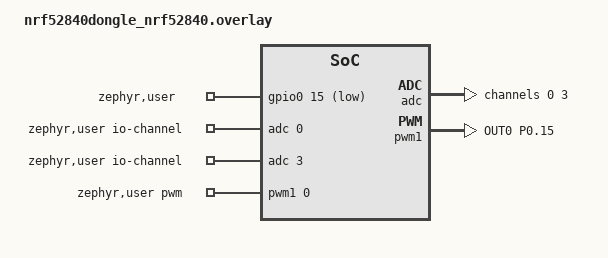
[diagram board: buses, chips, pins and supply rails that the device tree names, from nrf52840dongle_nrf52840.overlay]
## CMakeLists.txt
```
cmake_minimum_required(VERSION 3.20.0)
find_package(Zephyr REQUIRED HINTS $ENV{ZEPHYR_BASE})

project(ESWContestThreadModule)

target_sources(app PRIVATE
                    src/main.c
                )

target_sources_ifdef(CONFIG_BT app PRIVATE src/bluetooth_ad.c)
target_sources_ifdef(CONFIG_BT app PRIVATE src/ble_commission.c)
target_sources_ifdef(CONFIG_BT app PRIVATE src/ble_common.c)
target_sources_ifdef(CONFIG_OPENTHREAD_COAP app PRIVATE src/coap.c)
target_sources_ifdef(CONFIG_GPIO app PRIVATE src/action_button.c)
target_sources_ifdef(CONFIG_GPIO app PRIVATE src/button_service.c)
target_sources_ifdef(CONFIG_GPIO app PRIVATE src/reset_network.c)
target_sources_ifdef(CONFIG_ROLL4_SENSOR app PRIVATE src/cds.c)
target_sources_ifdef(CONFIG_ROLL4_SENSOR app PRIVATE src/temperature_humidity.c)
target_sources_ifdef(CONFIG_ROLL4_SENSOR app PRIVATE src/soil_humidity.c)
target_sources_ifdef(CONFIG_ROLL4_PUMP app PRIVATE src/pump.c)

include_directories(include)
```

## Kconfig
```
source "Kconfig.zephyr"

choice ROLL4_DEVICE_TYPE
	bool "Device Type"
	default ROLL4_SENSOR

config ROLL4_SENSOR
	bool "Enable Sensor Mode"
    
config ROLL4_PUMP
	bool "Enable pump Mode"
endchoice
```

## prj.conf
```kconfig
CONFIG_NETWORKING=y
CONFIG_NET_L2_OPENTHREAD=y
CONFIG_MPSL=y

CONFIG_OPENTHREAD_FTD=y

CONFIG_OPENTHREAD_COAP=y

CONFIG_BT=y
CONFIG_BT_PERIPHERAL=y
CONFIG_BT_BUF_ACL_TX_COUNT=16
CONFIG_BT_LOG_LEVEL_ERR=y

CONFIG_LOG=y


CONFIG_SYSTEM_WORKQUEUE_STACK_SIZE=4096

CONFIG_HEAP_MEM_POOL_SIZE=2048

CONFIG_HW_ID_LIBRARY=y

CONFIG_ROLL4_SENSOR=y
CONFIG_ROLL4_PUMP=n

CONFIG_ADC=y

CONFIG_SENSOR=y
CONFIG_DHT=y

CONFIG_PWM=y
```

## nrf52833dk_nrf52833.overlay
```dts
// To get started, press Ctrl+Space to bring up the completion menu and view the available nodes.

// You can also use the buttons in the sidebar to perform actions on nodes.
// Actions currently available include:

// * Enabling / disabling the node
// * Adding the bus to a bus
// * Removing the node
// * Connecting ADC channels

// For more help, browse the DeviceTree documentation at https://docs.zephyrproject.org/latest/guides/dts/index.html
// You can also visit the nRF DeviceTree extension documentation at https://nrfconnect.github.io/vscode-nrf-connect/devicetree/nrfdevicetree.html

/ {
    aliases {
        bluetooth-button = &button0;
        device-button = &button1;
    };
};
```

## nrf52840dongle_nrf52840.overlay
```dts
// To get started, press Ctrl+Space to bring up the completion menu and view the available nodes.

// You can also use the buttons in the sidebar to perform actions on nodes.
// Actions currently available include:

// * Enabling / disabling the node
// * Adding the bus to a bus
// * Removing the node
// * Connecting ADC channels

// For more help, browse the DeviceTree documentation at https://docs.zephyrproject.org/latest/guides/dts/index.html
// You can also visit the nRF DeviceTree extension documentation at https://docs.nordicsemi.com/bundle/nrf-connect-vscode/page/guides/ncs_configure_app.html#devicetree-support-in-the-extension
/ {
	zephyr,user {
		io-channels = <&adc 0>, <&adc 3>;
		gpios = <&gpio0 15 GPIO_ACTIVE_LOW>;
		pwms = <&pwm1 0 PWM_MSEC(10) PWM_POLARITY_NORMAL>;
	};
};

&gpio0 {
	dht11:dht11 {
		compatible = "aosong,dht";
		dio-gpios = < &gpio0 13 (GPIO_PULL_UP | GPIO_ACTIVE_LOW) >;
	};
};


&adc {
	#address-cells = <1>;
	#size-cells = <0>;
	status = "okay";
	channel@0 {
		reg = <0>;
		zephyr,gain = "ADC_GAIN_1_6";
		zephyr,reference = "ADC_REF_INTERNAL";
		zephyr,acquisition-time = <ADC_ACQ_TIME_DEFAULT>;
		zephyr,input-positive = <NRF_SAADC_AIN5>;
		zephyr,resolution = <12>;
	};
    channel@3 {
		reg = <3>;
		zephyr,gain = "ADC_GAIN_1_6";
		zephyr,reference = "ADC_REF_INTERNAL";
		zephyr,acquisition-time = <ADC_ACQ_TIME_DEFAULT>;
		zephyr,input-positive = <NRF_SAADC_AIN7>;
		zephyr,resolution = <12>;
	};
};

&pwm1 {
	status = "okay";
	pinctrl-0 = <&pwm1_default_custom>;
	pinctrl-1 = <&pwm1_sleep_custom>;
	pinctrl-names = "default", "sleep";
};

&pinctrl {
	pwm1_default_custom: pwm1_default_custom {
		group1 {
			psels = <NRF_PSEL(PWM_OUT0,0, 15)>;
			nordic,invert;
		};
	};

	pwm1_sleep_custom: pwm1_sleep_custom {
		group1 {
			psels = <NRF_PSEL(PWM_OUT0,0, 15)>;
			low-power-enable;
		};
	};
};
```

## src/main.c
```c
#include <zephyr/kernel.h>
#include <zephyr/net/openthread.h>
#include <zephyr/bluetooth/bluetooth.h>
#include <zephyr/logging/log.h>
#include <zephyr/drivers/gpio.h>

#include <openthread/thread.h>
#include <openthread/ip6.h>

LOG_MODULE_REGISTER(main, LOG_LEVEL_INF);

#include "bluetooth_ad.h"
#include "ble_commissioning.h"
#include "coap.h"
#include "util.h"
#include "action_button.h"
#include "button_service.h"
#include "reset_network.h"
#include "cds.h"
#include "soil_humidity.h"
#include "temperature_humidity.h"
#include "pump.h"

int main(void)
{
        init_ble_commission();
        init_button_service();
        init_reset_network();

        if(otDatasetIsCommissioned(openthread_get_default_instance())) {
                openthread_api_mutex_lock(openthread_get_default_context());
                otIp6SetEnabled(openthread_get_default_instance(), true);
                otThreadSetEnabled(openthread_get_default_instance(), true);
                openthread_api_mutex_unlock(openthread_get_default_context());
                LOG_INF("Start Thread");
        }

        else {
                start_bt_advertise();
                LOG_INF("Start BLE");
        }

        LOG_INF("START: CoAP Start");
        EXPECT_NO_ERROR_OR_DO(otCoapStart(openthread_get_default_instance(), 6000), LOG_ERR("Failed to Start CoAP"));
        LOG_INF("END: CoAP Start");

        #ifdef CONFIG_ROLL4_SENSOR
        EXPECT_NO_ERROR_OR_DO(init_cds(), LOG_ERR("Failed to start cds"));
        LOG_INF("END: CDS Start");
        EXPECT_NO_ERROR_OR_DO(init_soil_humidity(), LOG_ERR("Failed to start soil_humidity"));
        LOG_INF("END: SoilHumidity Start");

        addCoAPResource(get_soil_humidity_resource());
        addCoAPResource(get_cds_resource());
        addCoAPResource(get_temperature_resource());
        addCoAPResource(get_humidity_resource());
        #endif
        #ifdef CONFIG_ROLL4_PUMP
        addCoAPResource(get_pump_resource());
        set_pump_value(0.0);
        #endif
        
        return 0;
}
```

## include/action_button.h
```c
#ifndef ROLL4_ACTION_BUTTON_H
#define ROLL4_ACTION_BUTTON_H

#include <zephyr/drivers/gpio.h>
#include <zephyr/kernel.h>

typedef k_work_handler_t button_callback_t;

enum button_status {
    released = 0,
    pressed,
};

struct action_button_callback {
    button_callback_t on_long_press;
    button_callback_t on_short_press;
};

struct action_button{
    int64_t threshold;
    struct k_work press_time_check_work;
    struct gpio_dt_spec dt_spec;
    struct gpio_callback gpio_callback;
    enum button_status press_status;
    struct k_work long_press_work;
    struct k_work short_press_work;
    sys_snode_t registry_node;
};

#define DEFINE_ACTION_BUTTON(name, node, time) struct action_button name = { \
    .threshold = time,\
    .dt_spec= GPIO_DT_SPEC_GET(node, gpios),\
    .press_status = released,\
    .long_press_work = {0},\
    .short_press_work = {0} }

#define BUTTON_CALLBACK(name) void name(struct k_work *work)

int init_button(struct action_button *button, struct action_button_callback *callback);
#endif
```

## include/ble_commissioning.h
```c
#ifndef BLE_COMMISSIONING_H
#define BLE_COMMISSIONING_H
#include <zephyr/bluetooth/gatt.h>
enum status {
    WAITING = 0x00,
    PROGRESSING,
    FAILED,
    DONE,
};
typedef uint8_t status;

enum commission_command {
    NEW_NETWORK = 0x01,
    JOIN_NETWORK = 0x02,
    RESET_DATASET = 0x03,
    DISABLE_BLE = 0X04,
};
typedef uint8_t commission_command;

typedef struct user_data_info {
    void * data;
    size_t len;
} user_data_info;

#define USER_DATA_INFO(_type, _name, _len, _init_val) \
static _type _name##_data = _init_val; \
static struct user_data_info _name = { \
    .data = &(_name##_data), \
    .len = _len \
}

#define USER_DATA_INFO_STRING(_name, _len, _init_val) \
static char _name##_data[_len] = _init_val; \
static struct user_data_info _name = { \
    .data = _name##_data, \
    .len = _len \
}

#define USER_DATA(_name) (_name##_data)
#define USER_DATA_LENGTH(_name) sizeof(_name##_data)


#define INDICATE_DEFINE(_name, _uuid) \
        static bool _name##_indicate_enabled = false; \
        static void _name##_ccc_cfg_changed(const struct bt_gatt_attr *attr, \
                                            uint16_t value) { \
                _name##_indicate_enabled = (value == BT_GATT_CCC_INDICATE);\
                LOG_DBG("Indicate Enabled: %d", _name##_indicate_enabled);\
                } \
        struct bt_gatt_indicate_params _name##ind_params = {\
                .uuid = _uuid ,\
            }; \
        static int _name##_indicate() {\
            if (!_name##_indicate_enabled) return -EACCES; \
            _name##ind_params.data = _name.data;\
            _name##ind_params.len = _name.len;\
            return bt_gatt_indicate(NULL, &_name##ind_params);\
        }
#define INDICATE(_name) _name##_indicate();
#define INDICATE_VALUE(_name, _value) USER_DATA(_name) = _value; \
                                      INDICATE(_name);
#define INDICATE_CCC_CALLBACK(_name) _name##_ccc_cfg_changed


#define COMMAND_WORK_DECLARE(_name) \
            static void _name(struct k_work *work); \
            K_WORK_DEFINE(_name##_work, _name);

#define COMMAND_WORK_HANDLER(_name) \
            static void _name(struct k_work *work)

#define COMMAND_WORK_NAME(_name) _name##_work

ssize_t read_gatt(struct bt_conn *conn,
                                 const struct bt_gatt_attr *attr,
                                 void *buf, uint16_t len, 
                                 uint16_t offset);

ssize_t write_gatt(struct bt_conn *conn,
                                  const struct bt_gatt_attr *attr,
                                  const void *buf, uint16_t len,
                                  uint16_t offset, uint8_t flags);                                 

void init_ble_commission();
#endif
```

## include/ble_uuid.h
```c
// BLE Commission Service
#define BT_UUID_COMMISSION_SERVICE_VAL                           BT_UUID_128_ENCODE(0x9fff0001,0x89f6, 0x4f1b, 0x9e5d, 0x0d4648d944c9)
// #define BT_UUID_COMMISSION_NETWORK_NAME_VAL                      BT_UUID_128_ENCODE(0x9fff0002,0x89f6, 0x4f1b, 0x9e5d, 0x0d4648d944c9)
#define BT_UUID_COMMISSION_NETWORK_KEY_VAL                       BT_UUID_128_ENCODE(0x9fff0003,0x89f6, 0x4f1b, 0x9e5d, 0x0d4648d944c9)
// #define BT_UUID_COMMISSION_EXT_PANID_VAL                         BT_UUID_128_ENCODE(0x9fff0004,0x89f6, 0x4f1b, 0x9e5d, 0x0d4648d944c9)
#define BT_UUID_COMMISSION_COMMAND_VAL                           BT_UUID_128_ENCODE(0x9fff0005,0x89f6, 0x4f1b, 0x9e5d, 0x0d4648d944c9)
#define BT_UUID_COMMISSION_STATUS_VAL                            BT_UUID_128_ENCODE(0x9fff0006,0x89f6, 0x4f1b, 0x9e5d, 0x0d4648d944c9)
#define BT_UUID_COMMISSION_ROLE_VAL                              BT_UUID_128_ENCODE(0x9fff0007,0x89f6, 0x4f1b, 0x9e5d, 0x0d4648d944c9)
#define BT_UUID_COMMISSION_ML_ADDR_VAL                           BT_UUID_128_ENCODE(0x9fff0008,0x89f6, 0x4f1b, 0x9e5d, 0x0d4648d944c9)
#define BT_UUID_COMMISSION_UNIT_VAL                              BT_UUID_128_ENCODE(0x9fff0009,0x89f6, 0x4f1b, 0x9e5d, 0x0d4648d944c9)
#define BT_UUID_COMMISSION_TYPE_VAL                              BT_UUID_128_ENCODE(0x9fff000A,0x89f6, 0x4f1b, 0x9e5d, 0x0d4648d944c9)


#define BT_UUID_COMMISSION_SERVICE                               BT_UUID_DECLARE_128(BT_UUID_COMMISSION_SERVICE_VAL)
// #define BT_UUID_COMMISSION_NETWORK_NAME                          BT_UUID_DECLARE_128(BT_UUID_COMMISSION_NETWORK_NAME_VAL)
#define BT_UUID_COMMISSION_NETWORK_KEY                           BT_UUID_DECLARE_128(BT_UUID_COMMISSION_NETWORK_KEY_VAL)
// #define BT_UUID_COMMISSION_EXT_PANID                             BT_UUID_DECLARE_128(BT_UUID_COMMISSION_EXT_PANID_VAL)
#define BT_UUID_COMMISSION_COMMAND                               BT_UUID_DECLARE_128(BT_UUID_COMMISSION_COMMAND_VAL)
#define BT_UUID_COMMISSION_STATUS                                BT_UUID_DECLARE_128(BT_UUID_COMMISSION_STATUS_VAL)
#define BT_UUID_COMMISSION_ROLE                                  BT_UUID_DECLARE_128(BT_UUID_COMMISSION_ROLE_VAL)
#define BT_UUID_COMMISSION_ML_ADDR                               BT_UUID_DECLARE_128(BT_UUID_COMMISSION_ML_ADDR_VAL)
#define BT_UUID_COMMISSION_UNIT                                  BT_UUID_DECLARE_128(BT_UUID_COMMISSION_UNIT_VAL)
#define BT_UUID_COMMISSION_TYPE                                  BT_UUID_DECLARE_128(BT_UUID_COMMISSION_TYPE_VAL)
```

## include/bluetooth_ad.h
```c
#ifndef BLUETOOTH_AD_H
#define BLUETOOTH_AD_H
int start_bt_advertise();
int stop_bt_advertise();
#endif
```

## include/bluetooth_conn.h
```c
#ifndef BLUETOOTH_CONN_H
#define BLUETOOTH_CONN_H
void register_bt_conn_cb();
#endif
```

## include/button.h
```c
#ifndef ROLL4_BUTTON_H
#define ROLL_4_BUTTON_H

#include <zephyr/drivers/gpio.h>
#include <zephyr/kernel.h>

#define     BT_BUTTON_SHORT_PRESS                    BIT(1)
#define     BT_BUTTON_LONG_PRESS                     BIT(2)

enum button_status {
    released = 0,
    pressed,
};

struct action_button{
    struct k_work press_time_check_work;
    struct gpio_callback callback;
    struct gpio_dt_spec dt_spec;
    enum button_status press_status;
    struct k_event press_event;
};

int init_button_service();
#endif
```

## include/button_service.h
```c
#ifndef ROLL4_BUTTON_SERVICE_H
#define ROLL4_BUTTON_SERVICE_h

#include "action_button.h"

void init_button_service();
int is_button_service_ready();
int register_button(struct action_button *button, struct action_button_callback *callback);
struct action_button *select_button_by_pin(int pin_num);
#endif
```

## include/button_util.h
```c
#ifdef ROLL4_BUTTON_UTIL_H
#define ROLL4_BUTTON_UTIL_H

#endif
```

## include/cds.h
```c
#ifdef CONFIG_ROLL4_SENSOR
#ifndef ROLL4_CDS_H
#define ROLL4_CDS_H

#include "openthread/coap.h"

int init_cds();
double get_cds_value();
otCoapResource *get_cds_resource();
#endif
#endif
```

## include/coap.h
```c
#ifndef ROLL4_COAP_H
#define ROLL4_COAP_H

#include "openthread/coap.h"

#define DEFINE_COAP_RESOURCE(uri, user_data) otCoapResource uri##_resource = {\
                                            .mUriPath = #uri,\
                                            .mContext = user_data }

#define DEFINE_COAP_USER_DATA(type, value, handler) type value##_data;\
                                               UserData value = {\
                        .len = sizeof(type),\
                        .mUserData = &value##_data,\
                        .mUpdateHandler = handler }
#define DEFINE_COAP_USER_DATA_BUFFER(type, _len, value, handler) type value##_data[_len];\
                                               UserData value = {\
                        .len = _len,\
                        .mUserData = value##_data,\
                        .mUpdateHandler = handler }
#define COAP_USER_DATA(value) value##_data
#define COAP_RESOURCE(value) value##_resource

typedef struct UserData UserData;
typedef void (*UpdateHandler)(UserData *aUserData, double value);

struct UserData {
    void *mUserData;
    size_t len;
    UpdateHandler mUpdateHandler;
};

void addCoAPResource(otCoapResource *aResource);
#endif
```

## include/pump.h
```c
#ifdef CONFIG_ROLL4_PUMP
#ifndef ROLL4_PUMP_H
#define ROLL4_PUMP_H
#include "openthread/coap.h"

int set_pump_value(double value);
otCoapResource *get_pump_resource();
#endif
#endif
```

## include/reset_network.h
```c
#ifndef ROLL4_RESET_NETWORK_H
#define ROLL4_RESET_NETWORK_H
void init_reset_network();
#endif
```
